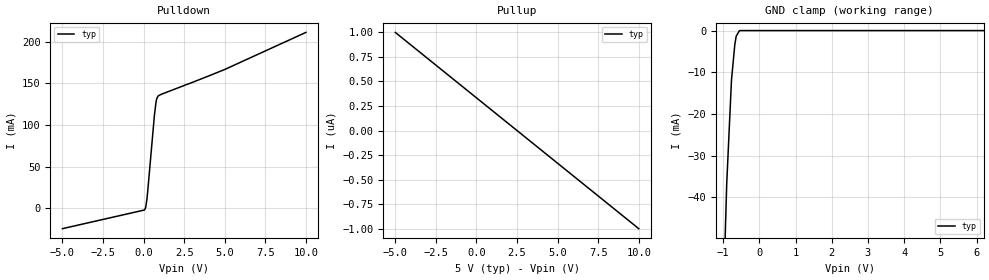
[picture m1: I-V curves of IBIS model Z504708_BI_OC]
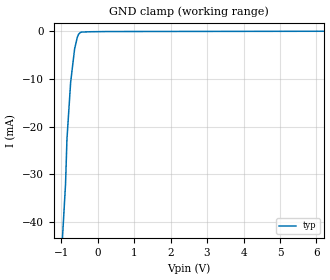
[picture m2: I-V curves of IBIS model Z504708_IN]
| YOU ARE ONLY AUTHORIZED TO USE THIS SOFTWARE
| ACCORDING TO LICENSOR'S LICENSE RESTRICTIONS.
[IBIS Ver] 3.1
[File Name] sn74ls641n.ibs
[File Rev] 2.0
[Source] Measured and created by ICX Technology
[Date] Friday 7/14/00 9:08:20 AM
[Copyright]
| (C) COPYRIGHT 1993-2000
| MENTOR GRAPHICS CORPORATION
| ICX STANDARD LIBRARY, ICX PROJECT MODELING,
| ICX CUSTOM MODELING, ICX VENDOR MODEL
| ALL RIGHTS RESERVED.
| THE FOLLOWING ARE TRADEMARKS OR SERVICE MARKS OF
| MENTOR GRAPHICS CORPORATION:ICX (R), ICX STANDARD
| LIBRARY(R), ICX PROJECT MODELING(R), ICX CUSTOM
| MODELING(R), qualityIBIS(TM), MODELVIEWER(TM),
| AND MODELEDITOR(TM)
| ALL COPIES OF SOFTWARE, INCLUDING BUT NOT LIMITED TO
| ANY MODIFICATIONS, ENHANCEMENTS OR DERIVATIVE WORKS,
| MUST CONTAIN ALL MENTOR GRAPHICS CORPORATION'S
| NOTICES AND LEGENDS, INCLUDING THOSE EMBEDDED IN
| SOFTWARE AND THOSE AFFIXED TO SOFTWARE MEDIUM
| AND CONTAINER, AS RECEIVED FROM MENTOR GRAPHICS
| CORPORATION.
|  ZAP Model Builder 2.7
[Component] SN74LS641N
[Manufacturer] OnSemiconductor
[Package]
| variable   typ   min   max
R_pkg  .216ohms NA NA
L_pkg  5.76nH NA NA
C_pkg  1.29pF NA NA
[Pin] signal_name  model_name  R_pin  L_pin C_pin
1 DIR Z504708_IN .232 9.76n 1.87p
2 A0 Z504708_BI_OC .224 7.26n 1.58p
3 A1 Z504708_BI_OC .216 5.26n 1.29p
4 A2 Z504708_BI_OC .208 3.76n 1.0p
5 A3 Z504708_BI_OC .2 2.76n .71p
6 A4 Z504708_BI_OC .2 2.76n .71p
7 A5 Z504708_BI_OC .208 3.76n 1.0p
8 A6 Z504708_BI_OC .216 5.26n 1.29p
9 A7 Z504708_BI_OC .224 7.26n 1.58p
10 GND GND .232 9.76n 1.87p
11 B7 Z504708_BI_OC .232 9.76n 1.87p
12 B6 Z504708_BI_OC .224 7.26n 1.58p
13 B5 Z504708_BI_OC .216 5.26n 1.29p
14 B4 Z504708_BI_OC .208 3.76n 1.0p
15 B3 Z504708_BI_OC .2 2.76n .71p
16 B2 Z504708_BI_OC .2 2.76n .71p
17 B1 Z504708_BI_OC .208 3.76n 1.0p
18 B0 Z504708_BI_OC .216 5.26n 1.29p
19 _G Z504708_IN .224 7.26n 1.58p
20 VCC POWER .232 9.76n 1.87p
| Models and submodels in the file (2): Z504708_BI_OC (I/O_open_sink), Z504708_IN (Input)
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| (C) COPYRIGHT 1993-2000
| MENTOR GRAPHICS CORPORATION
| ICX STANDARD LIBRARY, ICX PROJECT MODELING,
| ICX CUSTOM MODELING, ICX VENDOR MODEL
| ALL RIGHTS RESERVED.
| THE FOLLOWING ARE TRADEMARKS OR SERVICE MARKS OF
| MENTOR GRAPHICS CORPORATION:ICX (R), ICX STANDARD
| LIBRARY(R), ICX PROJECT MODELING(R), ICX CUSTOM
| MODELING(R), qualityIBIS(TM), MODELVIEWER(TM),
| AND MODELEDITOR(TM)
| ALL COPIES OF SOFTWARE, INCLUDING BUT NOT LIMITED TO
| ANY MODIFICATIONS, ENHANCEMENTS OR DERIVATIVE WORKS,
| MUST CONTAIN ALL MENTOR GRAPHICS CORPORATION'S
| NOTICES AND LEGENDS, INCLUDING THOSE EMBEDDED IN
| SOFTWARE AND THOSE AFFIXED TO SOFTWARE MEDIUM
| AND CONTAINER, AS RECEIVED FROM MENTOR GRAPHICS
| CORPORATION.
| Model Application Version 1.89 2/18/99.
[Model] Z504708_BI_OC
Model_type I/O_open_sink
Vinl=800.0mV
Vinh=2.000V
Vref=5.000V
Rref=667.0ohms
Cref=45.00pF
Vmeas=1.300V
C_comp 8.000pF NA NA
| variable typ   min   max
[Voltage Range] 5.000V NA NA
[POWER Clamp Reference] 5.000V NA NA
[Pullup Reference] 5.000V NA NA
[Pulldown Reference] 0.000V NA NA
[GND Clamp Reference] 0.000V NA NA
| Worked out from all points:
|   slope of the pulldown table from 0 to 0.75 V, typ, clamps not added: 5.9 ohm
|   GND clamp passes 1 mA (typ) near -0.62 V on its own axis
[GND Clamp]
-5V       -1.689A    NA         NA
-1.006V   -67.96mA   NA         NA
-902.9mV  -36.88mA   NA         NA
-770.9mV  -11.92mA   NA         NA
-678mV    -3.315mA   NA         NA
-639.7mV  -1.325mA   NA         NA
-548.3mV  0A         NA         NA
10V       0A         NA         NA
[Pulldown]
-5V       -24.33mA   NA         NA
69.12mV   -1.529mA   NA         NA
131mV     1.323mA    NA         NA
199.1mV   10.22mA    NA         NA
247.5mV   19.25mA    NA         NA
667mV     112mA      NA         NA
766.8mV   127.7mA    NA         NA
800.9mV   131.1mA    NA         NA
881.7mV   134.6mA    NA         NA
4.997V    166.7mA    NA         NA
10V       211.2mA    NA         NA
[Pullup]
-5V       1uA        NA         NA
10V       -1uA       NA         NA
[POWER Clamp]
-5V       0A         NA         NA
10V       0A         NA         NA
[Ramp]
| variable typ min max
dV/dt_r 2.852/16.62n NA NA
dV/dt_f 2.852/3.925n NA NA
R_load = 250.0Ohms
| (C) COPYRIGHT 1993-2000
| MENTOR GRAPHICS CORPORATION
| ICX STANDARD LIBRARY, ICX PROJECT MODELING,
| ICX CUSTOM MODELING, ICX VENDOR MODEL
| ALL RIGHTS RESERVED.
| THE FOLLOWING ARE TRADEMARKS OR SERVICE MARKS OF
| MENTOR GRAPHICS CORPORATION:ICX (R), ICX STANDARD
| LIBRARY(R), ICX PROJECT MODELING(R), ICX CUSTOM
| MODELING(R), qualityIBIS(TM), MODELVIEWER(TM),
| AND MODELEDITOR(TM)
| ALL COPIES OF SOFTWARE, INCLUDING BUT NOT LIMITED TO
| ANY MODIFICATIONS, ENHANCEMENTS OR DERIVATIVE WORKS,
| MUST CONTAIN ALL MENTOR GRAPHICS CORPORATION'S
| NOTICES AND LEGENDS, INCLUDING THOSE EMBEDDED IN
| SOFTWARE AND THOSE AFFIXED TO SOFTWARE MEDIUM
| AND CONTAINER, AS RECEIVED FROM MENTOR GRAPHICS
| CORPORATION.
| Model Application Version 1.89 2/18/99.
[Model] Z504708_IN
Model_type Input
Vinl = 800.0mV
Vinh = 2.000V
C_comp 4.000pF NA NA
| variable typ   min   max
[Voltage Range] 5.000V NA NA
[GND Clamp Reference] 0.000V NA NA
[POWER Clamp Reference] 5.000V NA NA
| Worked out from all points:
|   GND clamp passes 1 mA (typ) near -0.54 V on its own axis
[GND Clamp]
-5V       -583.9mA   NA         NA
-878.9mV  -32.04mA   NA         NA
-839.8mV  -22.6mA    NA         NA
-739.1mV  -10.71mA   NA         NA
-629.6mV  -3.676mA   NA         NA
-556.7mV  -1.276mA   NA         NA
-525.2mV  -675.9uA   NA         NA
-483.4mV  -323.3uA   NA         NA
-447.7mV  -175.3uA   NA         NA
-223.8mV  -105.5uA   NA         NA
249mV     -56.45uA   NA         NA
10V       39.29uA    NA         NA
[POWER Clamp]
-5V       0A         NA         NA
10V       0A         NA         NA
